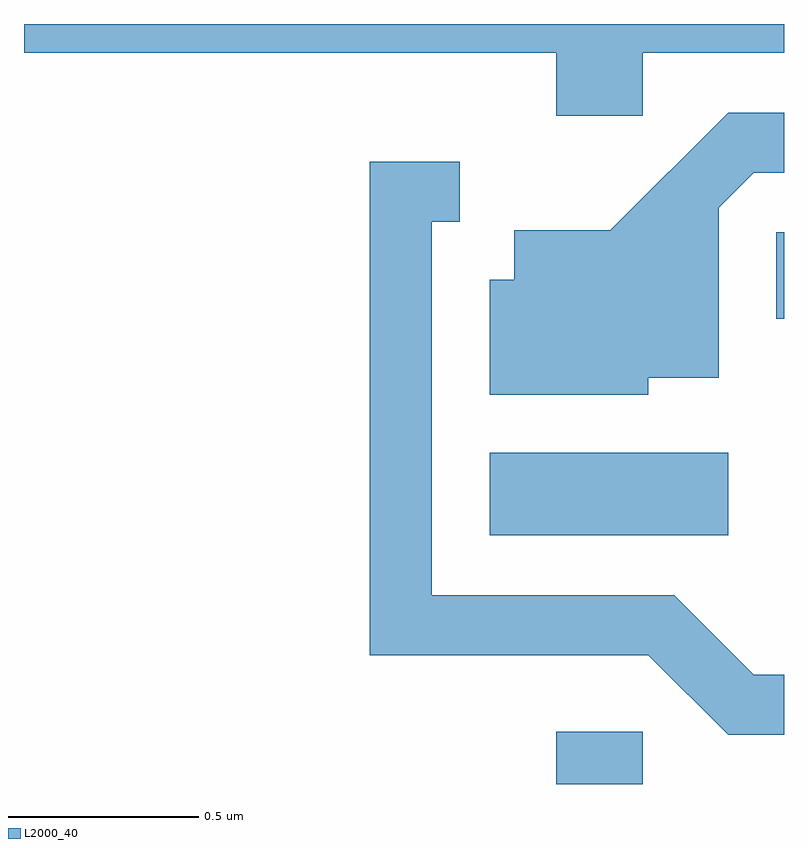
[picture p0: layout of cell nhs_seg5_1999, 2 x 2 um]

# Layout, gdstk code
import gdstk
lib = gdstk.Library(unit=1e-6, precision=1e-09)
def R(c, l, rs):  # rectangles x0, y0, x1, y1
    for r in rs: c.add(gdstk.rectangle(r[:2], r[2:], *l))
def P(c, l, *ps):  # polygons
    for p in ps: c.add(gdstk.Polygon(p, *l))
L2000_40 = (2000, 40)

nhs_seg5_1999 = lib.new_cell('nhs_seg5_1999')
R(nhs_seg5_1999, L2000_40, [(201.011,1477.072,201.239,1477.209), (200.836,1477.726,201.464,1477.944), (201.591,1478.296,201.611,1478.524)])
P(nhs_seg5_1999, L2000_40, [(201.239,1478.996),(201.611,1478.996),(201.611,1479.072),(199.611,1479.072),(199.611,1478.996),(201.011,1478.996),(201.011,1478.831),(201.239,1478.831)],
  [(201.254,1478.141),(201.439,1478.141),(201.439,1478.589),(201.532,1478.681),(201.611,1478.681),(201.611,1478.839),(201.464,1478.839),(201.154,1478.529),(200.901,1478.529),(200.901,1478.399),(200.836,1478.399),(200.836,1478.096),(201.254,1478.096)],
  [(201.611,1477.359),(201.532,1477.359),(201.322,1477.569),(200.684,1477.569),(200.684,1478.551),(200.758,1478.551),(200.758,1478.709),(200.521,1478.709),(200.521,1477.411),(201.254,1477.411),(201.464,1477.201),(201.611,1477.201)])

lib.write_gds('nhs_seg5_1999.gds')
